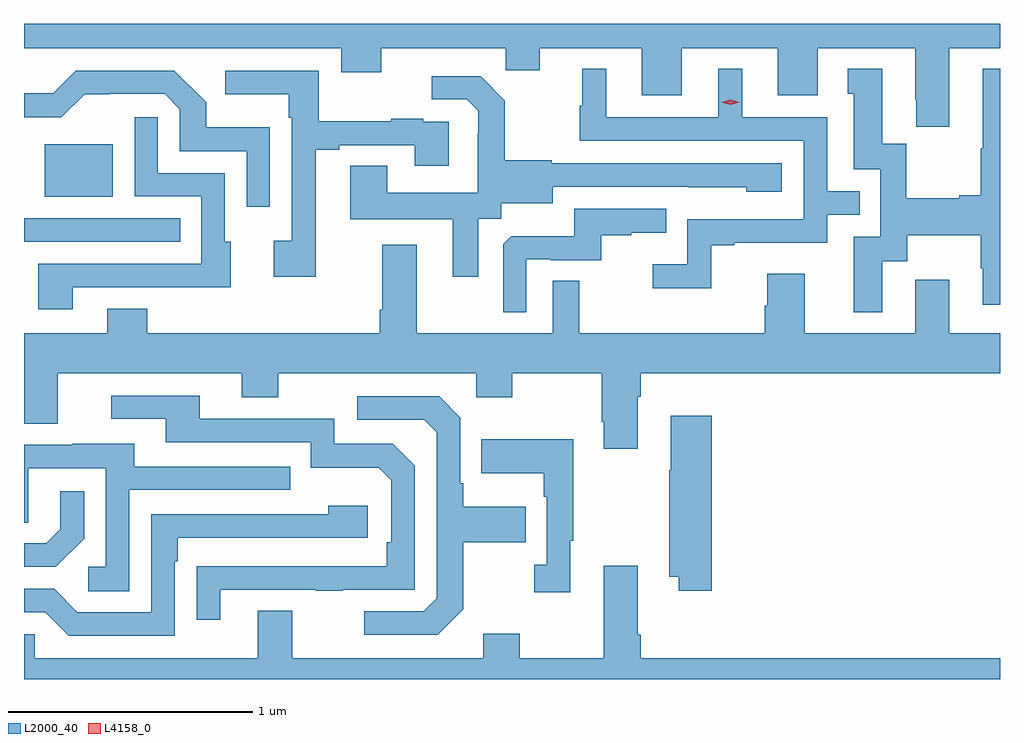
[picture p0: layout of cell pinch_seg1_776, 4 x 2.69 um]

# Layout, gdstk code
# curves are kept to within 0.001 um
import gdstk
lib = gdstk.Library(unit=1e-6, precision=1e-09)
def R(c, l, rs):  # rectangles x0, y0, x1, y1
    for r in rs: c.add(gdstk.rectangle(r[:2], r[2:], *l))
def P(c, l, *ps):  # polygons
    for p in ps: c.add(gdstk.Polygon(p, *l))
L2000_40 = (2000, 40)
L4158_0 = (4158, 0)

pinch_seg1_776 = lib.new_cell('pinch_seg1_776')
R(pinch_seg1_776, L2000_40, [(603.792,582.906,604.433,583.002), (603.878,583.091,604.156,583.306)])
P(pinch_seg1_776, L2000_40, [(603.792,583.7),(605.093,583.7),(605.093,583.601),(605.257,583.601),(605.257,583.7),(605.767,583.7),(605.767,583.61),(605.905,583.61),(605.905,583.7),(606.323,583.7),(606.323,583.506),(606.487,583.506),(606.487,583.7),(606.881,583.7),(606.881,583.506),(607.045,583.506),(607.045,583.7),(607.445,583.7),(607.445,583.489),(607.448,583.489),(607.448,583.377),(607.585,583.377),(607.585,583.7),(607.792,583.7),(607.792,583.8),(603.792,583.8)],
  [(606.609,582.891),(606.703,582.891),(606.703,582.903),(607.083,582.903),(607.083,583.017),(607.217,583.017),(607.217,583.113),(607.083,583.113),(607.083,583.416),(606.736,583.416),(606.736,583.615),(606.638,583.615),(606.638,583.416),(606.178,583.416),(606.178,583.615),(606.08,583.615),(606.08,583.464),(606.069,583.464),(606.069,583.32),(606.987,583.32),(606.987,582.999),(606.51,582.999),(606.51,582.814),(606.369,582.814),(606.369,582.716),(606.609,582.716)],
  [(607.309,582.826),(607.411,582.826),(607.411,582.932),(607.714,582.932),(607.714,582.798),(607.721,582.798),(607.721,582.648),(607.792,582.648),(607.792,583.615),(607.721,583.615),(607.721,583.289),(607.714,583.289),(607.714,583.097),(607.625,583.097),(607.625,583.084),(607.407,583.084),(607.407,583.307),(607.309,583.307),(607.309,583.615),(607.169,583.615),(607.169,583.512),(607.193,583.512),(607.193,583.203),(607.302,583.203),(607.302,582.927),(607.193,582.927),(607.193,582.618),(607.309,582.618)],
  [(604.8,583.375),(604.539,583.375),(604.539,583.478),(604.408,583.608),(604.005,583.608),(603.911,583.514),(603.792,583.514),(603.792,583.416),(603.945,583.416),(604.04,583.511),(604.368,583.512),(604.431,583.449),(604.431,583.278),(604.704,583.278),(604.704,583.05),(604.8,583.05)],
  [(604.987,583.284),(605.083,583.284),(605.083,583.302),(605.393,583.302),(605.393,583.218),(605.533,583.218),(605.533,583.398),(605.429,583.398),(605.429,583.411),(605.297,583.411),(605.297,583.4),(604.999,583.4),(604.999,583.608),(604.617,583.608),(604.617,583.511),(604.878,583.511),(604.878,583.415),(604.89,583.415),(604.89,582.91),(604.815,582.91),(604.815,582.762),(604.987,582.762)],
  [(605.653,583),(605.748,583),(605.748,583.064),(605.959,583.064),(605.959,583.131),(606.753,583.13),(606.753,583.112),(606.898,583.112),(606.898,583.227),(605.955,583.227),(605.955,583.24),(605.763,583.24),(605.763,583.485),(605.663,583.585),(605.463,583.585),(605.463,583.491),(605.607,583.491),(605.654,583.444),(605.654,583.349),(605.652,583.349),(605.652,583.108),(605.281,583.108),(605.281,583.217),(605.129,583.217),(605.129,582.998),(605.549,582.998),(605.549,582.762),(605.653,582.762)],
  [(603.991,582.72),(604.421,582.72),(604.421,582.719),(604.639,582.719),(604.639,582.906),(604.614,582.906),(604.614,583.188),(604.341,583.188),(604.341,583.417),(604.245,583.417),(604.245,583.092),(604.518,583.092),(604.518,582.816),(603.851,582.816),(603.851,582.63),(603.991,582.63)],
  [(605.85,582.834),(605.95,582.834),(605.95,582.831),(606.158,582.831),(606.158,582.933),(606.281,582.933),(606.281,582.944),(606.425,582.944),(606.425,583.041),(606.048,583.041),(606.048,582.929),(605.789,582.929),(605.757,582.897),(605.757,582.617),(605.85,582.617)],
  [(605.646,582.269),(605.793,582.269),(605.793,582.368),(606.16,582.368),(606.16,582.169),(606.167,582.169),(606.167,582.057),(606.307,582.057),(606.307,582.272),(606.32,582.272),(606.32,582.368),(607.792,582.368),(607.792,582.532),(607.585,582.532),(607.585,582.751),(607.445,582.751),(607.445,582.532),(606.991,582.532),(606.991,582.775),(606.839,582.775),(606.839,582.645),(606.827,582.645),(606.827,582.532),(606.067,582.532),(606.067,582.746),(605.958,582.746),(605.958,582.532),(605.401,582.532),(605.401,582.895),(605.261,582.895),(605.261,582.628),(605.249,582.628),(605.249,582.532),(604.297,582.532),(604.297,582.631),(604.133,582.631),(604.133,582.532),(603.792,582.532),(603.792,582.16),(603.931,582.16),(603.931,582.368),(604.685,582.368),(604.685,582.269),(604.833,582.269),(604.833,582.368),(605.646,582.368)],
  [(604.597,581.481),(604.987,581.481),(604.987,581.476),(605.099,581.476),(605.099,581.481),(605.394,581.481),(605.394,581.988),(605.304,582.078),(605.064,582.078),(605.064,582.18),(604.513,582.18),(604.513,582.276),(604.149,582.276),(604.149,582.18),(604.373,582.18),(604.373,582.084),(604.968,582.084),(604.968,581.981),(605.245,581.981),(605.298,581.928),(605.298,581.674),(605.278,581.674),(605.278,581.577),(604.501,581.576),(604.501,581.358),(604.597,581.358)],
  [(605.593,581.401),(605.593,581.674),(605.849,581.674),(605.849,581.821),(605.593,581.821),(605.593,581.917),(605.58,581.917),(605.58,582.186),(605.493,582.273),(605.157,582.273),(605.157,582.177),(605.433,582.177),(605.484,582.126),(605.484,581.445),(605.43,581.391),(605.187,581.391),(605.187,581.295),(605.487,581.295)],
  [(606.611,582.193),(606.443,582.193),(606.443,581.969),(606.436,581.969),(606.436,581.534),(606.476,581.534),(606.476,581.475),(606.611,581.475)],
  [(606.031,581.681),(606.043,581.681),(606.043,582.097),(605.665,582.097),(605.665,581.957),(605.922,581.957),(605.922,581.861),(605.934,581.861),(605.934,581.582),(605.883,581.582),(605.883,581.469),(606.031,581.469)],
  [(604.224,581.889),(604.883,581.889),(604.883,581.985),(604.243,581.985),(604.243,582.079),(603.989,582.079),(603.989,582.075),(603.792,582.075),(603.792,581.755),(603.81,581.755),(603.81,581.979),(604.128,581.979),(604.128,581.574),(604.056,581.574),(604.056,581.473),(604.224,581.473)],
  [(604.038,581.69),(604.038,581.884),(603.941,581.884),(603.941,581.727),(603.884,581.67),(603.792,581.67),(603.792,581.574),(603.922,581.574)],
  [(604.41,581.597),(604.423,581.597),(604.423,581.694),(605.2,581.694),(605.2,581.824),(605.039,581.824),(605.039,581.79),(604.314,581.79),(604.314,581.388),(604.011,581.388),(603.915,581.484),(603.792,581.484),(603.792,581.388),(603.879,581.388),(603.975,581.292),(604.41,581.292)],
  [(607.792,581.2),(606.32,581.2),(606.32,581.296),(606.307,581.296),(606.307,581.578),(606.167,581.578),(606.167,581.2),(605.823,581.2),(605.823,581.299),(605.675,581.299),(605.675,581.2),(604.891,581.2),(604.891,581.395),(604.751,581.395),(604.751,581.2),(603.837,581.2),(603.837,581.298),(603.792,581.298),(603.792,581.113),(607.792,581.113)])
P(pinch_seg1_776, L4158_0, [(606.687,583.468),(606.651,583.478),(606.651,583.478),(606.651,583.478),(606.687,583.488),(606.723,583.478),(606.723,583.478),(606.723,583.478)])

lib.write_gds('pinch_seg1_776.gds')
